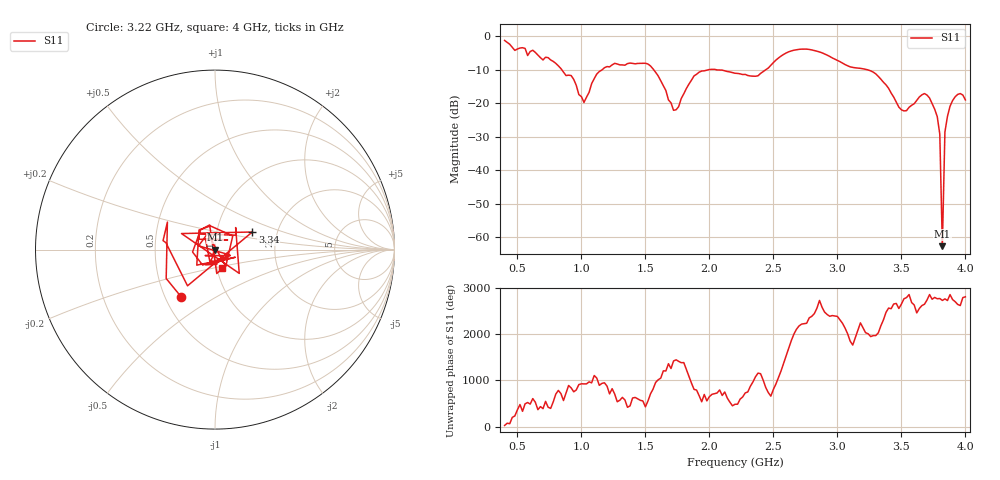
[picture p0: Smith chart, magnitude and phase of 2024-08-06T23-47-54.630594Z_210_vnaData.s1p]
!Created with skrf (http://scikit-rf.org).
# Hz S RI R 50.0
!freq ReS11 ImS11
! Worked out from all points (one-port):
!   181 points, 400 MHz to 4 GHz, reference 50 ohm
!   lowest |S11| = -62.6 dB at 3.82 GHz (marker M1), VSWR 1.00, Z = 49.9 - j0.0399 ohm
!   |S11| at or under -10 dB: 1.566 GHz to 1.987 GHz (421.3 MHz wide, 23.7 % of centre); 2.067 GHz to 2.439 GHz (372 MHz wide, 16.5 % of centre); 3.239 GHz to end of sweep (the widest 3 of 4)
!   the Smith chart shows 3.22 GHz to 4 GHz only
!   S11 on the Smith chart (normalised r, x): 3.22 GHz: 0.60, -0.35; 3.34 GHz: 1.49, +0.31; 4 GHz: 1.06, -0.23
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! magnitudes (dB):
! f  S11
! 400 MHz  -1.2
! 740 MHz  -6.3
! 860 MHz  -10.6
! 920 MHz  -11.7
! 1.02 GHz  -19.7
! 1.12 GHz  -11.2
! 1.3 GHz  -8.5
! 1.52 GHz  -8.2
! 1.6 GHz  -11.8
! 1.72 GHz  -22.0
! 1.76 GHz  -20.9
! 1.92 GHz  -10.7
! 2.2 GHz  -11.0
! 2.38 GHz  -11.7
! 2.66 GHz  -4.1
! 3.1 GHz  -9.1
! 3.22 GHz  -9.8
! 3.34 GHz  -12.8
! 3.5 GHz  -21.9
! 3.56 GHz  -21.2
! 3.68 GHz  -17.0
! 3.78 GHz  -23.9
! 3.8 GHz  -29.2
! 3.82 GHz  -62.6
! 3.84 GHz  -28.5
! 3.9 GHz  -19.1
! 3.96 GHz  -17.0
! 4 GHz  -18.9
